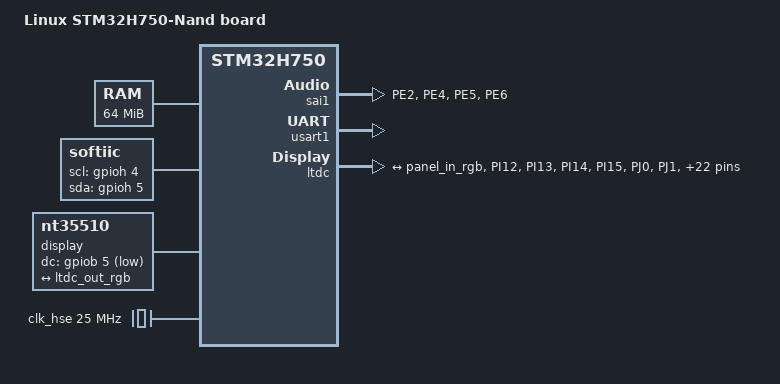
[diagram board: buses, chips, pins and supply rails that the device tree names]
/*
 * Copyright 2021 - Dillon Min <dillon.minfei@gmail.com>
 *
 * This file is dual-licensed: you can use it either under the terms
 * of the GPL or the X11 license, at your option. Note that this dual
 * licensing only applies to this file, and not this project as a
 * whole.
 *
 *  a) This file is free software; you can redistribute it and/or
 *     modify it under the terms of the GNU General Public License as
 *     published by the Free Software Foundation; either version 2 of the
 *     License, or (at your option) any later version.
 *
 *     This file is distributed in the hope that it will be useful,
 *     but WITHOUT ANY WARRANTY; without even the implied warranty of
 *     MERCHANTABILITY or FITNESS FOR A PARTICULAR PURPOSE.  See the
 *     GNU General Public License for more details.
 *
 * Or, alternatively,
 *
 *  b) Permission is hereby granted, free of charge, to any person
 *     obtaining a copy of this software and associated documentation
 *     files (the "Software"), to deal in the Software without
 *     restriction, including without limitation the rights to use,
 *     copy, modify, merge, publish, distribute, sublicense, and/or
 *     sell copies of the Software, and to permit persons to whom the
 *     Software is furnished to do so, subject to the following
 *     conditions:
 *
 *     The above copyright notice and this permission notice shall be
 *     included in all copies or substantial portions of the Software.
 *
 *     THE SOFTWARE IS PROVIDED "AS IS", WITHOUT WARRANTY OF ANY KIND,
 *     EXPRESS OR IMPLIED, INCLUDING BUT NOT LIMITED TO THE WARRANTIES
 *     OF MERCHANTABILITY, FITNESS FOR A PARTICULAR PURPOSE AND
 *     NONINFRINGEMENT. IN NO EVENT SHALL THE AUTHORS OR COPYRIGHT
 *     HOLDERS BE LIABLE FOR ANY CLAIM, DAMAGES OR OTHER LIABILITY,
 *     WHETHER IN AN ACTION OF CONTRACT, TORT OR OTHERWISE, ARISING
 *     FROM, OUT OF OR IN CONNECTION WITH THE SOFTWARE OR THE USE OR
 *     OTHER DEALINGS IN THE SOFTWARE.
 *
 * For art-pi board resources, you can refer to link:
 * 	https://art-pi.gitee.io/website/
 */

/dts-v1/;
#include "stm32h750.dtsi"
#include "stm32h7-pinctrl.dtsi"
#include <dt-bindings/interrupt-controller/irq.h>
#include <dt-bindings/gpio/gpio.h>

/ {
	model = "Linux STM32H750-Nand board";
	compatible = "st,stm32h750-nand", "st,stm32h750";

	chosen {
		bootargs = "console=ttySTM0,921600 init=/linuxrc CONSOLE=/dev/console";
		stdout-path = "serial0:921600n8";
	};

	memory@c0000000 {
		device_type = "memory";
		reg = <0xc0000000 0x4000000>;
	};

	reserved-memory {
		#address-cells = <1>;
		#size-cells = <1>;
		ranges;

		linux,cma {
			compatible = "shared-dma-pool";
			no-map;
			size = <0x100000>;
			linux,dma-default;
		};
	};

	aliases {
		serial0 = &usart1;
		serial1 = &usart3;
	};

	soc {
		sai1: sai@40015800 {
			compatible = "st,stm32h7-sai";
			#address-cells = <1>;
			#size-cells = <1>;
			ranges = <0 0x40015800 0x400>;
			reg = <0x40015800 0x4>;
			clocks = <&rcc SAI1_CK>, <&rcc PLL2_P>, <&rcc PLL3_P>;
			clock-names = "pclk", "x8k", "x11k";
			interrupts = <87>;
			resets = <&rcc STM32H7_APB2_RESET(SAI1)>;
			pinctrl-0 = <&sai1_pins>;
			pinctrl-names = "default";
			status = "okay";

			sai1a: sai@40015804 {
				#sound-dai-cells = <0>;
				dmas = <&dmamux1 87 0x400 0x01>;
				dma-names = "tx";
				#clock-cells = <0>;
				clocks = <&rcc SAI1_CK>;
				clock-names = "sai_ck";
				compatible = "st,stm32-sai-sub-a";
				reg = <0x04 0x1c>;
				status = "okay";
			};
		};
	};

	sound {
		compatible = "simple-audio-card";
		label = "h750-sound-card";
		dai-format = "i2s";
		simple-audio-card,mclk-fs = <256>;
		simple-audio-card,cpu {
			dai-tdm-slot-tx-mask = <1 1>;
			dai-tdm-slot-num = <2>;
			dai-tdm-slot-width = <32>;
			sound-dai = <&sai1a>;
		};
		simple-audio-card,codec {
			sound-dai = <&es8388_codec>;
		};
	};

	softiic {
		status = "okay";
		compatible = "softiic";
		scl-gpios = <&gpioh 4 0>;
		sda-gpios = <&gpioh 5 0>;
		clock-frequency = <100000>;
		#address-cells = <1>;
		#size-cells = <1>;
		ranges = <0 0 0x400>;
		es8388_codec: es8388-codec@10 {
			#sound-dai-cells = <0>;
			compatible = "es8388-codec";
			reg = <0x10 0x1>;
		};
		pcf8574: pcf8574@20 {
			compatible = "pcf8574";
			reg = <0x20 0x1>;
			value = [ef];
		};
	};

	display: display{
		/* Connect panel-nt35510 to ltdc */
		compatible = "nt35510";
		dc-gpios = <&gpiob 5 1>;
		port {
			panel_in_rgb: endpoint {
			remote-endpoint = <&ltdc_out_rgb>;
			};
		};
	};
};

&clk_hse {
	clock-frequency = <25000000>;
};

&dma1 {
	status = "okay";
};

&dma2 {
	status = "okay";
};

&usart1_pins {
		pins1 {
			pinmux = <STM32_PINMUX('A', 9, AF7)>; /* USART1_TX */
			bias-disable;
			drive-push-pull;
			slew-rate = <0>;
		};
		pins2 {
			pinmux = <STM32_PINMUX('A', 10, AF7)>; /* USART1_RX */
			bias-disable;
		};
	};

&usart1 {
	pinctrl-0 = <&usart1_pins>;
	pinctrl-names = "default";
	status = "okay";
};

&pinctrl {
	sai1_pins: sai1-pins {
		pins {
			pinmux = <STM32_PINMUX('E', 2, AF6)>, /* SAI1_MCLK_A */
				 <STM32_PINMUX('E', 4, AF6)>, /* SAI1_FS_A */
				 <STM32_PINMUX('E', 5, AF6)>, /* SAI1_SCK_A */
				 <STM32_PINMUX('E', 6, AF6)>; /* SAI1_SD_A */
			slew-rate = <3>;
			drive-push-pull;
			bias-disable;
		};
	};
	ltdc_pins: ltdc-pins {
		pins {
			pinmux = <STM32_PINMUX('I', 12,  AF14)>, /* LTDC_HSYNC */
				<STM32_PINMUX('I', 13,  AF14)>, /* LTDC_VSYNC */
				<STM32_PINMUX('I', 14,  AF14)>, /* LTDC_CLK */
				<STM32_PINMUX('I', 15,  AF14)>, /* LTDC_R0 */
				<STM32_PINMUX('J', 0,  AF14)>, /* LTDC_R1 */
				<STM32_PINMUX('J', 1,  AF14)>, /* LTDC_R2 */
				<STM32_PINMUX('J', 2,  AF14)>, /* LTDC_R3 */
				<STM32_PINMUX('J', 3,  AF14)>, /* LTDC_R4 */
				<STM32_PINMUX('J', 4,  AF14)>, /* LTDC_R5 */
				<STM32_PINMUX('J', 5,  AF14)>, /* LTDC_R6 */
				<STM32_PINMUX('J', 6,  AF14)>, /* LTDC_R7 */
				<STM32_PINMUX('J', 7,  AF14)>, /* LTDC_G0 */
				<STM32_PINMUX('J', 8,  AF14)>, /* LTDC_G1 */
				<STM32_PINMUX('J', 9,  AF14)>, /* LTDC_G2 */
				<STM32_PINMUX('J', 10,  AF14)>, /* LTDC_G3 */
				<STM32_PINMUX('J', 11,  AF14)>, /* LTDC_G4 */
				<STM32_PINMUX('J', 12,  AF14)>, /* LTDC_B0 */
				<STM32_PINMUX('J', 13,  AF14)>, /* LTDC_B1 */
				<STM32_PINMUX('J', 14,  AF14)>, /* LTDC_B2 */
				<STM32_PINMUX('J', 15,  AF14)>, /* LTDC_B3 */
				<STM32_PINMUX('K', 0,  AF14)>, /* LTDC_G5 */
				<STM32_PINMUX('K', 1,  AF14)>, /* LTDC_G6 */
				<STM32_PINMUX('K', 2,  AF14)>, /* LTDC_G7 */
				<STM32_PINMUX('K', 3,  AF14)>, /* LTDC_B4 */
				<STM32_PINMUX('K', 4,  AF14)>, /* LTDC_B5 */
				<STM32_PINMUX('K', 5,  AF14)>, /* LTDC_B6 */
				<STM32_PINMUX('K', 6,  AF14)>, /* LTDC_B7 */
				<STM32_PINMUX('K', 7,  AF14)>; /* LTDC_DE */
			slew-rate = <2>;
		};
	};
};

&ltdc {
	status = "okay";
	pinctrl-0 = <&ltdc_pins>;
	pinctrl-names = "default";
	port {
			ltdc_out_rgb: endpoint {
			remote-endpoint = <&panel_in_rgb>;
			};
	};
};



